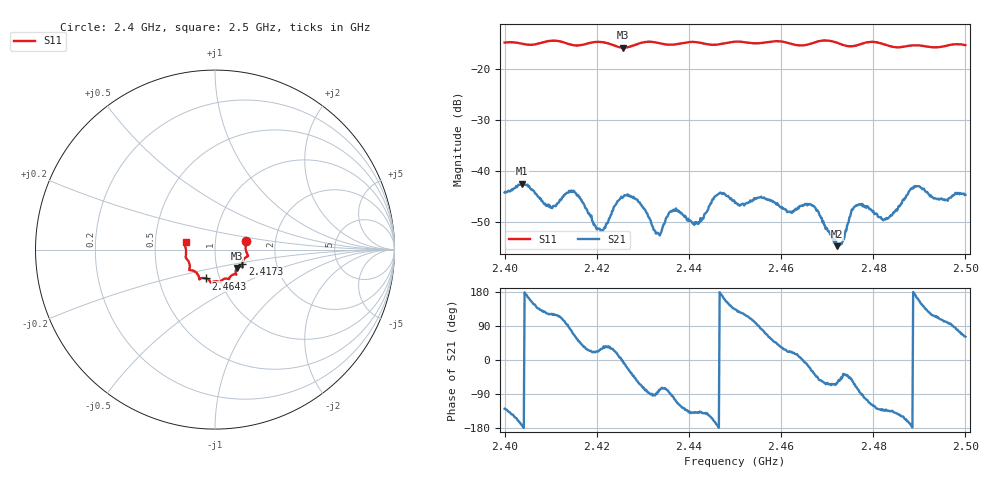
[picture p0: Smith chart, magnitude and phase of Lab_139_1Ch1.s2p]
# Hz S RI R
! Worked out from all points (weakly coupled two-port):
!   601 points, 2.4 GHz to 2.5 GHz, reference 50 ohm
!   highest |S21| = -42.54 dB at 2.4038 GHz (marker M1); lowest = -54.8 dB at 2.4722 GHz (marker M2)
!   lowest |S11| = -15.9 dB at 2.4257 GHz (marker M3), VSWR 1.38, Z = 62.5 - j13.1 ohm
!   |S11| at or under -10 dB: start of sweep to end of sweep
!   S12 and S22 are empty: the file has one direction only
!   S11 on the Smith chart (normalised r, x): 2.4 GHz: 1.41, +0.14; 2.4173 GHz: 1.34, -0.23; 2.4643 GHz: 0.86, -0.28; 2.5 GHz: 0.72, +0.06
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2.4e9  0.1729 0.0487  -0.00383 -0.0048  0 0  0 0
2.403833e9  0.1728 0.0274  -0.00742 -0.000773  0 0  0 0
2.409833e9  0.1838 -0.0326  -0.00237 0.0039  0 0  0 0
2.4145e9  0.1629 -0.0515  0.00143 0.00626  0 0  0 0
2.416667e9  0.1526 -0.0747  0.00387 0.00347  0 0  0 0
2.417333e9  0.1517 -0.0819  0.00377 0.00262  0 0  0 0
2.421333e9  0.1533 -0.0965  0.00222 0.00136  0 0  0 0
2.425667e9  0.1231 -0.1024  0.00548 -0.00021  0 0  0 0
2.429e9  0.1154 -0.1314  0.00254 -0.00429  0 0  0 0
2.433333e9  0.113 -0.1376  0.000206 -0.00244  0 0  0 0
2.436333e9  0.0915 -0.1447  -0.000362 -0.00398  0 0  0 0
2.441667e9  0.0754 -0.1647  -0.00237 -0.00206  0 0  0 0
2.446333e9  0.0449 -0.166  -0.00587 -0.000452  0 0  0 0
2.45e9  0.0289 -0.181  -0.00335 0.00349  0 0  0 0
2.464333e9  -0.0498 -0.1605  0.00453 0.00039  0 0  0 0
2.466667e9  -0.0759 -0.1592  0.004 -0.00223  0 0  0 0
2.472167e9  -0.0888 -0.155  0.000872 -0.00161  0 0  0 0
2.4765e9  -0.1216 -0.1172  0.00127 -0.0044  0 0  0 0
2.483333e9  -0.1405 -0.0899  -0.00239 -0.0025  0 0  0 0
2.489333e9  -0.1631 -0.0441  -0.00684 0.0017  0 0  0 0
2.493833e9  -0.1613 -0.00379  -0.00199 0.00489  0 0  0 0
2.5e9  -0.1639 0.0429  0.00279 0.00511  0 0  0 0
